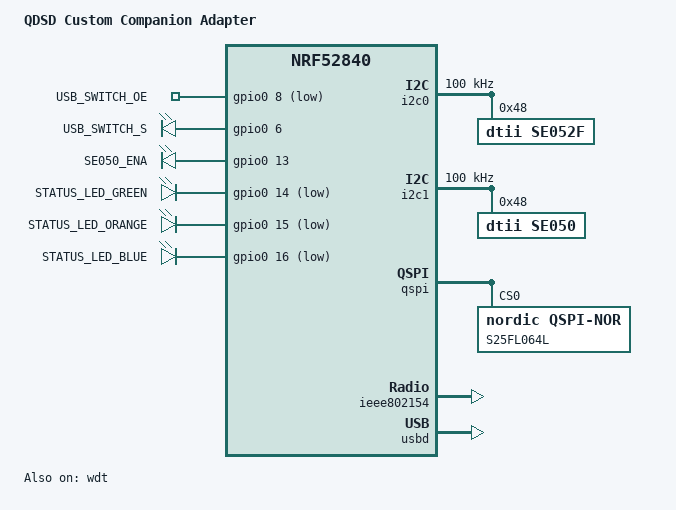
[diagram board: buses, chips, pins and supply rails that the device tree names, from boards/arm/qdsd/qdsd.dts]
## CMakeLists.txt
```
cmake_minimum_required(VERSION 3.20.0)

find_package(Zephyr REQUIRED HINTS $ENV{ZEPHYR_BASE})
project(qdsd_firmware VERSION 0.7.0)

# ── Include paths ─────────────────────────────────────────────────────────────
# One root: every header is included by subsystem, e.g. "token/token_engine.h",
# so the folder in an #include is the folder the code lives in.
target_include_directories(app PRIVATE
    include
)

# Production Platform SCP03 keys (scp03_prod_keys.h) live outside the repo:
#   west build ... -- -DQDSD_KEYS_DIR=/secure/path
if(DEFINED QDSD_KEYS_DIR)
    target_include_directories(app PRIVATE ${QDSD_KEYS_DIR})
endif()

# ── Source files ──────────────────────────────────────────────────────────────
target_sources(app PRIVATE
    src/main.c

    # Token: command processor, one file per flow (PROTOCOL.md)
    src/token/token_engine.c
    src/token/token_store.c
    src/token/token_journal.c
    src/token/token_receipt.c
    src/token/token_factory.c
    src/token/token_pairing.c
    src/token/token_dsc.c
    src/token/token_import.c
    src/token/token_sign.c
    src/token/token_update.c
    src/token/token_drive.c

    # Protocol encodings: TLV, signed statements, DER
    src/protocol/tlv.c
    src/protocol/stmt.c
    src/protocol/der.c

    # Lifecycle record + journal (stored in SE050)
    src/state_machine/state_record.c

    # Security: boot self-test
    src/security/self_test.c

    # Port: port.h on SE050 / SE052F / MCU
    src/port/port_trust.c
    src/port/port_dsc.c
    src/port/port_store.c
    src/port/port_crypto.c
    src/port/port_platform.c

    # Secure elements (Plug & Trust nano)
    src/se05x/se05x_bus.c
    src/se05x/se05x_link.c
    src/se05x/se05x_scp03_keys.c

    # Storage: MCU flash NVS (legacy records, read once)
    src/storage/nvs_store.c

    # USB: CCID smart-card reader class
    src/usb/ccid.c
    src/usb/token_usb.c

    # Board HAL (carried over from Phase 2)
    src/hal/hal_gpio.c
    src/hal/hal_i2c.c
    src/hal/hal_power.c
)

# Firmware update into MCUboot's secondary slot (needs --sysbuild / MCUboot).
if(CONFIG_QDSD_FW_UPDATE)
    target_sources(app PRIVATE src/port/port_fw.c)
else()
    target_sources(app PRIVATE src/port/port_fw_none.c)
endif()

# Install drive: read-only USB disk on the external QSPI flash.
if(CONFIG_QDSD_INSTALL_DRIVE)
    target_sources(app PRIVATE src/port/port_drive.c src/usb/msc.c src/usb/token_msc.c)
else()
    target_sources(app PRIVATE src/port/port_drive_none.c)
endif()

# USB device-stack private header (usb_descriptor.h).
zephyr_include_directories(${ZEPHYR_BASE}/subsys/usb/device)

# PlugNTrust nano-package headers (NCS west name: nxp_plugandtrust)
if(CONFIG_PLUGANDTRUST)
  if(DEFINED ZEPHYR_NXP_PLUGANDTRUST_MODULE_DIR)
    set(PLUGANDTRUST_MODULE_DIR ${ZEPHYR_NXP_PLUGANDTRUST_MODULE_DIR})
  else()
    set(PLUGANDTRUST_MODULE_DIR ${ZEPHYR_PLUGANDTRUST_MODULE_DIR})
  endif()
  target_include_directories(app PRIVATE
    ${PLUGANDTRUST_MODULE_DIR}/lib/apdu
    ${PLUGANDTRUST_MODULE_DIR}/lib/apdu/scp03
    ${PLUGANDTRUST_MODULE_DIR}/lib/t1oi2c
    ${PLUGANDTRUST_MODULE_DIR}/lib/platform/zephyr
  )
endif()

# Plug & Trust sets WITH_PLATFORM_SCP03 on the library target only; app TU
# (se050_pnt.c) must see the same define for Se05x_API_SCP03_CreateSession().
if(CONFIG_PLUGANDTRUST_SCP03)
  target_compile_definitions(app PRIVATE WITH_PLATFORM_SCP03)
endif()
```

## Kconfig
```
menu "QDSD firmware (Flows v3.4, protocol v3.3)"

config QDSD_DSC_SLOTS
	int "Number of DSC key slots in SE052F"
	default 4
	range 1 8
	help
	  Each slot holds one Subscriber DSC key pair and its certificate.
	  KEYGEN and import use an empty slot, else reuse the oldest key that
	  never got a certificate (abandoned download). DELETE_KEY (phone
	  approved) and RESET free certified slots.

config QDSD_NONCE_TTL_S
	int "Lifetime of a GET_SESSION_NONCE nonce (seconds)"
	default 600
	range 30 3600
	help
	  Time allowed between GET_SESSION_NONCE and SIGN, which covers the
	  Subscriber approving on the phone. The nonce is also discarded on USB
	  reset, unplug, a new GET_SESSION_NONCE, or 3 failed signature checks.

config QDSD_NONCE_SLOTS
	int "Outstanding GET_SESSION_NONCE nonces"
	default 4
	range 1 8
	help
	  Several signing apps (and a login) can wait for phone approval at the
	  same time. A new nonce replaces the oldest only when all are in use.

config QDSD_SESSION_IDLE_S
	int "Login session idle timeout (seconds)"
	default 28800
	range 60 86400
	help
	  Flow 2b: a session opened by LOGIN returns to LOGGED_OUT after this
	  many seconds with no accepted command. Does not apply when the
	  Subscriber has turned login approval off, or to the session opened by
	  pairing (that one lasts until the token is unplugged).

config QDSD_FW_UPDATE
	bool "Firmware update over the token interface (UPDATE_BEGIN/WRITE/FINISH)"
	default y
	select STREAM_FLASH
	select IMG_MANAGER
	select IMG_ENABLE_IMAGE_CHECK
	help
	  Streams a signed image into MCUboot's secondary slot; MCUboot checks
	  and installs it at the next boot. Needs MCUboot in the build
	  (west build --sysbuild) and a secondary slot (Partition Manager's
	  mcuboot_secondary, or slot1_partition in the board devicetree).

	  Say n only for early board bring-up without MCUboot: the update
	  commands then answer 6D00. Product images must say y.
	  prj_noupdate.conf switches it off (and with it the DFU image
	  manager it selects).

config QDSD_INSTALL_DRIVE
	bool "Install drive: read-only USB disk on the external QSPI flash"
	default y if $(dt_nodelabel_enabled,ext_flash)
	depends on $(dt_nodelabel_enabled,ext_flash)
	select FLASH
	help
	  Shows the token's QSPI NOR flash (devicetree label ext_flash,
	  docs/board/qdsd_qspi_flash.overlay) to the PC as a write-protected USB
	  disk carrying the Ascert.en installer, next to the CCID reader. The
	  Factory Tool writes the disk with FACTORY_DRIVE in MANUFACTURING only.
	  On by default whenever the board describes the flash.

config QDSD_RECEIPT_RING
	int "Signing receipts kept in the SE050"
	default 16
	range 4 64
	help
	  Every SIGN saves its device-signed receipt (and the DSC signature) in
	  the SE050 before replying, so a lost reply can be fetched again with
	  GET_RECEIPT. The oldest is overwritten. Each entry is a 528-byte
	  binary object. Changing this on tokens in the field renumbers the
	  ring: only change it for new production.

config QDSD_VERIFY_IN_SE
	bool "Check phone and cloud signatures inside the SE050"
	default y
	help
	  Signatures by the stored DTI command key and phone activation key are
	  checked with the SE050's ECDSAVerify against the key object, so the
	  check runs in the element holding the keys. Say n only to rule the
	  SE out while bringing up new hardware: mbedTLS on the MCU then checks
	  against the public key read out of the SE050.

config QDSD_OID_SE050_BASE
	hex "Object-id range base in the SE050"
	default 0x51DE0000
	help
	  All QDSD objects in the SE050 live at this base + fixed offsets
	  (docs/OBJECT_IDS.md). Must stay below 0x7FFF0000 (NXP reserved).
	  Changing it orphans objects on existing tokens.

config QDSD_OID_SE052F_BASE
	hex "Object-id range base in the SE052F"
	default 0x5D5C0000
	help
	  DSC keys, slot records and DSC certificates live at this base +
	  fixed offsets (docs/OBJECT_IDS.md). Changing it orphans objects on
	  existing tokens.

config QDSD_SCP03_LAB_KEYS
	bool "Use NXP default Platform SCP03 keys (LAB ONLY)"
	depends on PLUGANDTRUST_SCP03
	help
	  NXP's published SE050/SE052F default keys. They are public, so the I2C
	  link to the secure elements is unprotected. Production images use the
	  per-batch keys in scp03_prod_keys.h (QDSD_KEYS_DIR) instead.

choice QDSD_SE050_VARIANT
	prompt "SE050 variant (selects lab SCP03 key set)"
	default QDSD_SE050_C2
	depends on QDSD_SCP03_LAB_KEYS

config QDSD_SE050_C1
	bool "SE050C1 (OEF A200)"

config QDSD_SE050_C2
	bool "SE050C2 (OEF A201)"

endchoice

endmenu

# The update path checks the received image's SHA-256 (flash_img_check).
# Zephyr's default backend for that is the mbedTLS legacy API, which NCS
# forbids together with nRF Security (Kconfig error on MBEDTLS_SHA256).
# Use PSA, like the rest of the MCU crypto (port_crypto.c).
choice FLASH_AREA_CHECK_INTEGRITY_BACKEND
	default FLASH_AREA_CHECK_INTEGRITY_PSA
endchoice

source "Kconfig.zephyr"
```

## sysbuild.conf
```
# MCUboot with ECDSA P-256 image signatures and overwrite-only upgrades.
# The image version (VERSION file / CONFIG_MCUBOOT_IMGTOOL_SIGN_VERSION) must
# equal QDSD_FW_MAJOR.MINOR.PATCH in include/qdsd/qdsd_config.h: the token
# refuses images older than itself before MCUboot even sees them.
SB_CONFIG_BOOTLOADER_MCUBOOT=y
SB_CONFIG_BOOT_SIGNATURE_TYPE_ECDSA_P256=y
# Development key only. Production images are signed by the DTII release HSM;
# MCUboot is built with the matching public key.
SB_CONFIG_BOOT_SIGNATURE_KEY_FILE="\${APP_DIR}/keys/fw_signing_DEV_ONLY.pem"
SB_CONFIG_MCUBOOT_MODE_OVERWRITE_ONLY=y
```

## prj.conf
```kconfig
# ─────────────────────────────────────────────────────────────────────────────
# QDSD firmware 0.6 — PRODUCT configuration (NCS v3.0.0 / Zephyr)
# Bench builds: -DEXTRA_CONF_FILE=prj_lab.conf
# ─────────────────────────────────────────────────────────────────────────────

# ── No Bluetooth (Ascert.en flows: phone talks only to DTI Cloud) ────────────────
CONFIG_BT=n

# ── USB CCID smart-card reader (TS3USB221 gate opens after self-test) ──────
# Class 0x0B: the OS's own CCID driver binds; no vendor descriptors needed.
CONFIG_USB_DEVICE_STACK=y
CONFIG_USB_DEVICE_BOS=n
CONFIG_USB_DEVICE_OS_DESC=n
CONFIG_USB_MAX_NUM_TRANSFERS=8
CONFIG_USB_WORKQUEUE=y
CONFIG_USB_WORKQUEUE_STACK_SIZE=2048
CONFIG_USB_DEVICE_VID=0x1915
CONFIG_USB_DEVICE_PID=0x520F
CONFIG_USB_DEVICE_MANUFACTURER="DTIIL"
CONFIG_USB_DEVICE_PRODUCT="TrustBox"
CONFIG_USB_DEVICE_INITIALIZE_AT_BOOT=n
CONFIG_USB_CDC_ACM=n

# ── Board I/O ──────────────────────────────────────────────────────────────
CONFIG_GPIO=y
CONFIG_PINCTRL=y
CONFIG_I2C=y

# ── NXP Plug & Trust nano (SE050 on I2C1, SE052F on I2C0) ───────────────────
CONFIG_PLUGANDTRUST=y
CONFIG_PLUGANDTRUST_SCP03=y
CONFIG_PLUGANDTRUST_ECKEY=n
CONFIG_PLUGANDTRUST_ECKEY_SCP03=n
CONFIG_PLUGANDTRUST_SM_APDU_MUTEX=y
CONFIG_PLUGANDTRUST_LOG_LEVEL_DBG=n
# RSA-2048 responses (256-byte signature/modulus + TLV + SCP03) exceed 255.
CONFIG_PLUGANDTRUST_APDU_BUFFER_SIZE=512

# ── MCU crypto (SHA-256, self-test, .pfx key unwrap, import key check) ────
# Stored phone / cloud keys are checked inside the SE050 (QDSD_VERIFY_IN_SE).
# 0.6.4: PSA Crypto API (src/port/port_crypto.c). The legacy options
# (NORDIC_SECURITY_BACKEND, MBEDTLS_ECP_C, MBEDTLS_RSA_C, MBEDTLS_GCM_C ...)
# are deprecated since NCS 2.8 and are no longer used.
CONFIG_NRF_SECURITY=y
CONFIG_MBEDTLS_PSA_CRYPTO_C=y
# CC310 on the nRF52840 does AES-128 only; Oberon (software) covers
# AES-256-GCM and anything else CC310 lacks.
CONFIG_PSA_CRYPTO_DRIVER_OBERON=y
CONFIG_PSA_CRYPTO_DRIVER_CC3XX=y
CONFIG_PSA_WANT_GENERATE_RANDOM=y
CONFIG_PSA_WANT_ALG_SHA_256=y
CONFIG_PSA_WANT_ALG_ECDSA=y
CONFIG_PSA_WANT_ALG_ECDH=y
CONFIG_PSA_WANT_ECC_SECP_R1_256=y
CONFIG_PSA_WANT_KEY_TYPE_ECC_PUBLIC_KEY=y
CONFIG_PSA_WANT_KEY_TYPE_ECC_KEY_PAIR_GENERATE=y
CONFIG_PSA_WANT_KEY_TYPE_ECC_KEY_PAIR_IMPORT=y
CONFIG_PSA_WANT_KEY_TYPE_ECC_KEY_PAIR_EXPORT=y
CONFIG_PSA_WANT_ALG_RSA_PKCS1V15_SIGN=y
CONFIG_PSA_WANT_KEY_TYPE_RSA_PUBLIC_KEY=y
CONFIG_PSA_WANT_RSA_KEY_SIZE_2048=y
CONFIG_PSA_WANT_ALG_GCM=y
CONFIG_PSA_WANT_KEY_TYPE_AES=y
CONFIG_PSA_WANT_AES_KEY_SIZE_256=y
CONFIG_MBEDTLS_ENABLE_HEAP=y
CONFIG_MBEDTLS_HEAP_SIZE=16384
CONFIG_ENTROPY_GENERATOR=y

# ── Internal flash NVS: read once to move 0.3-0.5 records into the SEs ─────
CONFIG_FLASH=y
CONFIG_FLASH_MAP=y
CONFIG_FLASH_PAGE_LAYOUT=y
CONFIG_NVS=y

# ── Update over the token interface (CONFIG_QDSD_FW_UPDATE, default y,
#    selects the DFU image manager; needs --sysbuild for MCUboot) ──────────
CONFIG_REBOOT=y

# ── Kernel ─────────────────────────────────────────────────────────────────
CONFIG_MAIN_STACK_SIZE=4096
CONFIG_SYSTEM_WORKQUEUE_STACK_SIZE=2048
CONFIG_HEAP_MEM_POOL_SIZE=8192

# ── Hardening ──────────────────────────────────────────────────────────────
# Lock SWD so SCP03 keys and RAM cannot be read out (Flow 1: lock debug ports).
CONFIG_NRF_APPROTECT_LOCK=y
CONFIG_LOG=n
CONFIG_ASSERT=n
CONFIG_SERIAL=n
CONFIG_CONSOLE=n
CONFIG_UART_CONSOLE=n
```

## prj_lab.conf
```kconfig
# ─────────────────────────────────────────────────────────────────────────────
# QDSD firmware 0.6 — LAB overlay. NOT FOR PRODUCTION.
#   west build -b qdsd/nrf52840 . -- -DBOARD_ROOT=... -DEXTRA_CONF_FILE=prj_lab.conf
# ─────────────────────────────────────────────────────────────────────────────

# NXP default SCP03 keys (public). SE050 C2 unless CONFIG_QDSD_SE050_C1=y.
CONFIG_QDSD_SCP03_LAB_KEYS=y

# Debug access and logs over RTT.
CONFIG_NRF_APPROTECT_LOCK=n
CONFIG_LOG=y
CONFIG_LOG_BACKEND_RTT=y
CONFIG_USE_SEGGER_RTT=y
CONFIG_LOG_DEFAULT_LEVEL=3
CONFIG_LOG_BUFFER_SIZE=4096
CONFIG_ASSERT=y

# Shorter nonce lifetime makes expiry easy to test on the bench.
CONFIG_QDSD_NONCE_TTL_S=120
# Short login idle timeout for bench testing of Flow 2b.
CONFIG_QDSD_SESSION_IDLE_S=300
# To enable the QDSD as a EXternal Flash Device
CONFIG_QDSD_INSTALL_DRIVE=y
```

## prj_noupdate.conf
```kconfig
# ─────────────────────────────────────────────────────────────────────────────
# Bring-up overlay: build WITHOUT MCUboot and without firmware update.
#   west build -b qdsd/nrf52840 . -- -DBOARD_ROOT=... \
#     -DEXTRA_CONF_FILE="prj_lab.conf;prj_noupdate.conf"
# (no --sysbuild). UPDATE_BEGIN/WRITE/FINISH answer 6D00. NOT FOR PRODUCTION:
# a token built this way can only be reflashed through SWD.
# ─────────────────────────────────────────────────────────────────────────────
CONFIG_QDSD_FW_UPDATE=n
```

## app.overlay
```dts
/*
 * Board-level nodes (aliases usb-oe, usb-s, status-led-*, se2-en, se05x-i2c;
 * i2c0/i2c1; qdsd_nvs_partition; MCUboot slot0/slot1 partitions) come from
 * the QDSD board definition (BOARD_ROOT). Nothing app-specific is needed.
 */
```

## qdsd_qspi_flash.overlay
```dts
/*
 * QDSD board: Infineon S25FL064LABMFM010, 64 Mbit (8 MB) Quad-SPI NOR on the
 * nRF52840 QSPI peripheral. Pins from the QDSD schematic.
 */
&pinctrl {
	qspi_default: qspi_default {
		group1 {
			psels = <NRF_PSEL(QSPI_SCK, 0, 19)>,
				<NRF_PSEL(QSPI_IO0, 0, 22)>,
				<NRF_PSEL(QSPI_IO1, 0, 21)>,
				<NRF_PSEL(QSPI_IO2, 0, 23)>,
				<NRF_PSEL(QSPI_IO3, 0, 24)>,
				<NRF_PSEL(QSPI_CSN, 0, 17)>;
			nordic,drive-mode = <NRF_DRIVE_H0H1>;
		};
	};

	qspi_sleep: qspi_sleep {
		group1 {
			psels = <NRF_PSEL(QSPI_SCK, 0, 19)>,
				<NRF_PSEL(QSPI_IO0, 0, 22)>,
				<NRF_PSEL(QSPI_IO1, 0, 21)>,
				<NRF_PSEL(QSPI_IO2, 0, 23)>,
				<NRF_PSEL(QSPI_IO3, 0, 24)>,
				<NRF_PSEL(QSPI_CSN, 0, 17)>;
			low-power-enable;
		};
	};
};

&qspi {
	status = "okay";
	pinctrl-0 = <&qspi_default>;
	pinctrl-1 = <&qspi_sleep>;
	pinctrl-names = "default", "sleep";

	ext_flash: s25fl064l@0 {
		compatible = "nordic,qspi-nor";
		reg = <0>;
		label = "S25FL064L";
		jedec-id = [01 60 17];
		size = <67108864>;
		sck-frequency = <8000000>;
		sck-delay = <62>;
		writeoc = "pp";
		readoc = "fastread";
		has-dpd;
		t-enter-dpd = <10000>;
		t-exit-dpd = <35000>;
	};
};
```

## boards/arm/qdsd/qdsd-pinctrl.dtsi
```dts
/*
 * qdsd-pinctrl.dtsi — QDSD custom PCBA (MDBT50Q-1MV2 / nRF52840)
 *
 * Pin map (schematic QDSD rev 2, do not change without schematic update):
 *
 *   Function              nRF GPIO    Schematic net
 *   ─────────────────────────────────────────────────────
 *   SE052F I2C SDA        P0.27       SE1_SDA
 *   SE052F I2C SCL        P0.26       SE1_SCL
 *   SE050 I2C SDA         P1.01       SE2_SDA
 *   SE050 I2C SCL         P1.02       SE2_SCL
 *   SE050 ENA             P0.13       SE2_EN    — GPIO, not pinctrl (see qdsd.dts)
 *   S25FL064 QSPI SCK     P0.19       SPI_CLK
 *   S25FL064 QSPI IO0     P0.22       SPI_IO0
 *   S25FL064 QSPI IO1     P0.21       SPI_IO1
 *   S25FL064 QSPI IO2/WP  P0.23       SPI_IO2/WP
 *   S25FL064 QSPI IO3/HOLD P0.24      SPI_IO3/HOLD
 *   S25FL064 QSPI CSN     P0.17       SPI_CS
 *
 * GPIO-controlled signals are defined in qdsd.dts (not pinctrl):
 *   TS3USB221 OE          P0.08       GPIO_OE
 *   TS3USB221 S           P0.06       GPIO_SEL
 *   Status LED green      P0.14       LED_G
 *   Status LED orange     P0.15       LED_O
 *   Status LED blue       P0.16       LED_B
 */

&pinctrl {

	i2c0_default: i2c0_default {
		group1 {
			psels = <NRF_PSEL(TWIM_SDA, 0, 27)>,
				<NRF_PSEL(TWIM_SCL, 0, 26)>;
			bias-pull-up;
		};
	};

	i2c0_sleep: i2c0_sleep {
		group1 {
			psels = <NRF_PSEL(TWIM_SDA, 0, 27)>,
				<NRF_PSEL(TWIM_SCL, 0, 26)>;
			low-power-enable;
		};
	};

	i2c1_default: i2c1_default {
		group1 {
			psels = <NRF_PSEL(TWIM_SDA, 1, 1)>,
				<NRF_PSEL(TWIM_SCL, 1, 2)>;
			bias-pull-up;
		};
	};

	i2c1_sleep: i2c1_sleep {
		group1 {
			psels = <NRF_PSEL(TWIM_SDA, 1, 1)>,
				<NRF_PSEL(TWIM_SCL, 1, 2)>;
			low-power-enable;
		};
	};

	qspi_default: qspi_default {
		group1 {
			psels = <NRF_PSEL(QSPI_SCK, 0, 19)>,
				<NRF_PSEL(QSPI_IO0, 0, 22)>,
				<NRF_PSEL(QSPI_IO1, 0, 21)>,
				<NRF_PSEL(QSPI_IO2, 0, 23)>,
				<NRF_PSEL(QSPI_IO3, 0, 24)>,
				<NRF_PSEL(QSPI_CSN, 0, 17)>;
			nordic,drive-mode = <NRF_DRIVE_H0H1>;
		};
	};

	qspi_sleep: qspi_sleep {
		group1 {
			psels = <NRF_PSEL(QSPI_SCK, 0, 19)>,
				<NRF_PSEL(QSPI_IO0, 0, 22)>,
				<NRF_PSEL(QSPI_IO1, 0, 21)>,
				<NRF_PSEL(QSPI_IO2, 0, 23)>,
				<NRF_PSEL(QSPI_IO3, 0, 24)>,
				<NRF_PSEL(QSPI_CSN, 0, 17)>;
			low-power-enable;
		};
	};
};
```

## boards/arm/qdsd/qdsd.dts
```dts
/dts-v1/;

#include <nordic/nrf52840_qiaa.dtsi>
#include "qdsd-pinctrl.dtsi"
#include <zephyr/dt-bindings/input/input-event-codes.h>
#include <zephyr/dt-bindings/gpio/gpio.h>

/ {
	model = "QDSD Custom Companion Adapter";
	compatible = "dtii,qdsd";

	chosen {
		zephyr,sram = &sram0;
		zephyr,flash = &flash0;
		zephyr,code-partition = &slot0_partition;
		zephyr,console = &uart0;
		zephyr,shell-uart = &uart0;
		zephyr,uart-mcumgr = &uart0;
	};

	aliases {

		/* USB data switch — TS3USB221A (U4) */
		usb-oe = &usb_oe;
		usb-s = &usb_s;

		/* Status LED4 — common-anode RGB (LTST-C19FD1WT) */
		status-led-green = &status_led_green;
		status-led-orange = &status_led_orange;
		status-led-blue = &status_led_blue;

		/* SE050 ENA — IC2 pin 11, net SE2_EN */
		se2-en = &se2_en;

		/* Secure elements — I2C buses (see pinctrl header) */
		se052-i2c = &i2c0;
		se05x-i2c = &i2c0;  /* PlugNTrust nano-package alias */
		se050-i2c = &i2c1;

		watchdog0 = &wdt0;
	};

	/* ── GPIO outputs ────────────────────────────────────────────────── */

	gpio_outputs {
		compatible = "gpio-leds";

		usb_oe: usb_oe {
			/*
			 * P0.08 — TS3USB221A ~OE (GPIO_OE), active-LOW.
			 * Physical OE HIGH = switch disabled = USB data path blocked (safe).
			 * Physical OE LOW  = switch enabled  = document-hash path active.
			 */
			gpios = <&gpio0 8 GPIO_ACTIVE_LOW>;
			label = "USB_SWITCH_OE";
		};

		usb_s: usb_s {
			/*
			 * P0.06 — TS3USB221A S (GPIO_SEL), fixed at boot.
			 * LOW  = route to B-port (DSC side per schematic default).
			 * HIGH = route to A-port.
			 */
			gpios = <&gpio0 6 GPIO_ACTIVE_HIGH>;
			label = "USB_SWITCH_S";
		};

		se2_en: se2_en {
			/*
			 * P0.13 — SE050C (IC2) ENA, net SE2_EN, GPIO_ACTIVE_HIGH.
			 * The part stays in power-down until this pin is HIGH.
			 * There is no default pull-up on the schematic; firmware
			 * must drive it before any I2C1 traffic.
			 */
			gpios = <&gpio0 13 GPIO_ACTIVE_HIGH>;
			label = "SE050_ENA";
		};

		status_led_green: status_led_green {
			/* P0.14 — LED4 green channel */
			gpios = <&gpio0 14 GPIO_ACTIVE_LOW>;
			label = "STATUS_LED_GREEN";
		};

		status_led_orange: status_led_orange {
			/* P0.15 — LED4 orange channel */
			gpios = <&gpio0 15 GPIO_ACTIVE_LOW>;
			label = "STATUS_LED_ORANGE";
		};

		status_led_blue: status_led_blue {
			/* P0.16 — LED4 blue channel */
			gpios = <&gpio0 16 GPIO_ACTIVE_LOW>;
			label = "STATUS_LED_BLUE";
		};
	};
};

/* ── SoC peripherals ───────────────────────────────────────────────── */

&wdt {
	status = "okay";
};

&uicr {
	/* RESET button (S2) wired to nRESET — not a readable GPIO */
	gpio-as-nreset;
};

&gpiote {
	status = "okay";
};

&gpio0 {
	status = "okay";
};

&gpio1 {
	status = "okay";
};

/* SE052F (IC1) — subscriber signing secure element */
&i2c0 {
	compatible = "nordic,nrf-twi";
	status = "okay";
	pinctrl-0 = <&i2c0_default>;
	pinctrl-1 = <&i2c0_sleep>;
	pinctrl-names = "default", "sleep";
	clock-frequency = <I2C_BITRATE_STANDARD>;

	se052f: se052f@48 {
		compatible = "dtii,se052f";
		reg = <0x48>;
		label = "SE052F";
		status = "okay";
	};
};

/* SE050 (IC2) — Phase-1 bring-up is gated by CONFIG_QDSD_SE050. */
&i2c1 {
	compatible = "nordic,nrf-twi";
	status = "okay";
	pinctrl-0 = <&i2c1_default>;
	pinctrl-1 = <&i2c1_sleep>;
	pinctrl-names = "default", "sleep";
	clock-frequency = <I2C_BITRATE_STANDARD>;

	se050: se050@48 {
		compatible = "dtii,se050";
		reg = <0x48>;
		label = "SE050";
		status = "okay";
	};
};

/* S25FL064L (IC4) — external QSPI NOR flash, 64 Mbit */
&qspi {
	status = "okay";
	pinctrl-0 = <&qspi_default>;
	pinctrl-1 = <&qspi_sleep>;
	pinctrl-names = "default", "sleep";

	s25fl064l: s25fl064l@0 {
		compatible = "nordic,qspi-nor";
		reg = <0>;
		label = "S25FL064L";
		jedec-id = [01 60 17];
		size = <67108864>;
		sck-frequency = <8000000>;
		sck-delay = <62>;
		writeoc = "pp";        /* was "pp4io" */
		readoc = "fastread";   /* was "read4io" */
		has-dpd;
		t-enter-dpd = <10000>;
		t-exit-dpd = <35000>;
	};
};

&ieee802154 {
	status = "okay";
};

zephyr_udc0: &usbd {
	compatible = "nordic,nrf-usbd";
	status = "okay";
};

&flash0 {
	partitions {
		compatible = "fixed-partitions";
		#address-cells = <1>;
		#size-cells = <1>;

		boot_partition: partition@0 {
			label = "mcuboot";
			reg = <0x00000000 0x0000C000>;
		};

		slot0_partition: partition@c000 {
			label = "image-0";
			reg = <0x0000C000 0x00077000>;
		};

		slot1_partition: partition@83000 {
			label = "image-1";
			reg = <0x00083000 0x00075000>;
		};

		storage_partition: partition@f8000 {
			label = "storage";
			reg = <0x000f8000 0x00004000>;
		};

		qdsd_nvs_partition: partition@fc000 {
			label = "qdsd-nvs";
			reg = <0x000fc000 0x00004000>;
		};
	};
};
```

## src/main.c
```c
/**
 * @file main.c
 * @brief QDSD token firmware 0.7.1 — Ascert.en Flows v3.4, protocol v3.3 (nRF52840 / NCS 3.0).
 *
 * Boot order:
 *   1. Safe defaults: USB data gate CLOSED, LEDs, SE050 power.
 *   2. I2C, NVS (read once, to move 0.3-0.5 records), USB CCID descriptors.
 *   3. Self-test: crypto KATs, both secure elements answer, lifecycle record
 *      loads, interrupted BIND/REBIND/RESET finished, legacy records moved
 *      into the secure elements, cut-off signing receipts finished, required
 *      objects present.
 *   4. Pass    -> open the TS3USB221 gate and enumerate as a CCID reader.
 *      Service -> lifecycle record or objects inconsistent, or a factory reset
 *                 was cut off: enumerate, but answer only GET_INFO and
 *                 FACTORY_WIPE (DTI's repair path). Orange LED.
 *      Fail    -> crypto self-test or a secure element unreachable: gate
 *                 stays closed, orange LED, no USB.
 *
 * There is no Bluetooth: in the Ascert.en flows the phone talks only to DTI Cloud and
 * every authorisation reaches the token as a signed statement over USB.
 */
#include <zephyr/kernel.h>
#include <zephyr/logging/log.h>

#include "hal/hal_gpio.h"
#include "hal/hal_i2c.h"
#include "hal/hal_power.h"
#include "storage/nvs_store.h"
#include "token/token_engine.h"
#include "security/self_test.h"
#include "state_machine/state_record.h"
#include "se05x/se05x_link.h"
#include "usb/token_usb.h"
#include "usb/token_msc.h"

LOG_MODULE_REGISTER(main, LOG_LEVEL_INF);

static void halt_fault(const char *why, int rc)
{
	LOG_ERR("FAULT: %s (%d) — USB gate stays closed", why, rc);
	(void)hal_gpio_usb_gate_close();
	(void)hal_gpio_led_set_pattern(LED_PATTERN_FAULT);
	for (;;) {
		k_sleep(K_FOREVER);
	}
}

int main(void)
{
	int rc;

	LOG_INF("QDSD firmware %u.%u.%u (protocol v%u.%u)", QDSD_FW_MAJOR, QDSD_FW_MINOR,
		QDSD_FW_PATCH, QDSD_PROTOCOL_VERSION, QDSD_PROTOCOL_MINOR);

	rc = hal_power_init();
	if (rc != 0) {
		halt_fault("power/gate safe defaults", rc);
	}
	(void)hal_gpio_led_set_pattern(LED_PATTERN_BOOT);

	rc = hal_i2c_init();
	if (rc != 0) {
		halt_fault("I2C init", rc);
	}
	rc = qdsd_nvs_init();
	if (rc != 0) {
		halt_fault("NVS mount", rc);
	}
	rc = token_usb_init();
	if (rc != 0) {
		halt_fault("USB init", rc);
	}
#if defined(CONFIG_QDSD_INSTALL_DRIVE)
	rc = token_msc_init(); /* the drive is optional: never a fault */
	if (rc != 0) {
		LOG_ERR("Install drive init failed: %d", rc);
	}
#else
	LOG_INF("Install drive: not in this build (no ext_flash node)");
#endif

	rc = qdsd_crypto_selftest();
	if (rc != 0) {
		halt_fault("crypto self-test", rc);
	}
	rc = se_link_init();
	if (rc != 0) {
		halt_fault("secure element sessions", rc);
	}
	rc = token_engine_init();
	if (rc == QDSD_INIT_SERVICE) {
		LOG_ERR("Service mode: only GET_INFO and FACTORY_WIPE are answered");
		(void)hal_gpio_led_set_pattern(LED_PATTERN_FAULT);
	} else if (rc != 0) {
		halt_fault("token engine init", rc);
	} else {
		LOG_INF("Self-test passed — state %s", state_lc_name(token_engine_lifecycle()));
	}

	rc = hal_gpio_usb_gate_open();
	if (rc != 0) {
		halt_fault("USB gate open", rc);
	}
	rc = token_usb_enable();
	if (rc != 0) {
		halt_fault("USB enable", rc);
	}
	return 0;
}
```
